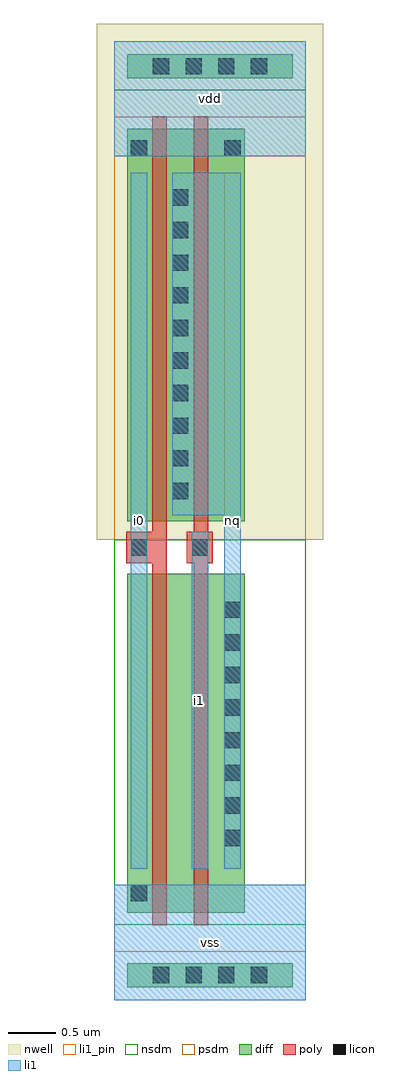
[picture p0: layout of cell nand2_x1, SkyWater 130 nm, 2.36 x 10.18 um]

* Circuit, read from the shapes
.subckt nand2_x1 i0 i1 nq vdd vss
XM1 n1 i0 vss VSUBS sky130_fd_pr__nfet_01v8 w=3.535 l=0.15
XM2 nq i1 n1 VSUBS sky130_fd_pr__nfet_01v8 w=3.535 l=0.15
XM3 nq i0 vdd n2 sky130_fd_pr__pfet_01v8 w=4.095 l=0.15
XM4 vdd i1 nq n2 sky130_fd_pr__pfet_01v8 w=4.095 l=0.15
.ends

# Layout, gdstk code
import gdstk
lib = gdstk.Library(unit=1e-6, precision=1e-09)
def R(c, l, rs):  # rectangles x0, y0, x1, y1
    for r in rs: c.add(gdstk.rectangle(r[:2], r[2:], *l))
def A(c, l, x, y, w, h, nx, ny, dx, dy):  # array of equal rectangles
    R(c, l, [(x+i*dx, y+j*dy, x+i*dx+w, y+j*dy+h) for i in range(nx) for j in range(ny)])
nwell = (64, 20)
diff = (65, 20)
poly = (66, 20)
licon = (66, 44)
li1_pin = (67, 16)
li1 = (67, 20)
nsdm = (93, 44)
psdm = (94, 20)

nand2_x1 = lib.new_cell('nand2_x1')
R(nand2_x1, nwell, [(-0.18,4.8,2.18,10.18), (-0.045,4.815,0.505,9.27), (-0.045,4.815,0.565,9.27), (-0.03,4.815,0.98,9.27), (0.385,4.815,0.995,9.27), (0.4,4.815,1.41,9.27), (0.445,4.815,0.935,9.27), (0.875,4.815,1.54,9.27), (0.93,4.815,1.54,9.27), (0.385,4.925,0.995,8.755), (-0.045,8.5,0.565,9.27), (0.93,8.5,1.54,9.27), (-0.045,9.435,2.045,10.045), (0.105,9.435,1.895,10.045)])
R(nand2_x1, diff, [(0.135,0.135,1.865,0.385), (0.285,0.135,1.715,0.385), (0.135,0.91,0.385,1.32), (0.135,0.91,0.385,4.445), (0.135,0.91,0.325,4.445), (0.15,0.91,0.8,4.445), (0.555,0.91,0.825,4.445), (0.58,0.91,1.23,4.445), (0.625,0.91,0.755,4.445), (1.055,0.91,1.36,4.445), (1.11,0.91,1.36,4.445), (1.11,1.485,1.36,4.275), (0.135,4.995,0.385,9.09), (0.135,4.995,0.325,9.09), (0.15,4.995,0.8,9.09), (0.565,4.995,0.815,9.09), (0.58,4.995,1.23,9.09), (0.625,4.995,0.755,9.09), (1.055,4.995,1.36,9.09), (1.11,4.995,1.36,9.09), (0.565,5.105,0.815,8.575), (0.135,8.68,0.385,9.09), (1.11,8.68,1.36,9.09), (0.135,9.615,1.865,9.865), (0.285,9.615,1.715,9.865)])
R(nand2_x1, poly, [(0.4,0.78,0.55,4.575), (0.4,0.78,0.55,4.865), (0.83,0.78,0.98,4.575), (0.83,0.78,0.98,4.865), (0.125,4.555,0.395,4.885), (0.26,4.555,0.475,4.885), (0.76,4.555,1.03,4.885), (0.895,4.555,0.905,4.885), (0.4,4.865,0.55,9.22), (0.83,4.865,0.98,9.22)])
A(nand2_x1, licon, 0.405, 0.175, 0.17, 0.17, 4, 2, 0.34, 9.48)
A(nand2_x1, licon, 1.15, 1.605, 0.17, 0.17, 1, 8, 0, 0.34)
A(nand2_x1, licon, 0.605, 5.225, 0.17, 0.17, 1, 10, 0, 0.34)
R(nand2_x1, licon, [(0.175,1.03,0.345,1.2), (0.175,4.635,0.345,4.805), (0.81,4.635,0.98,4.805), (0.175,8.8,0.345,8.97), (1.15,8.8,1.32,8.97)])
R(nand2_x1, li1_pin, [(0,0,2,1.2), (0.175,1.37,0.345,8.63), (0.81,1.37,0.98,4.885), (1.15,1.37,1.32,8.63), (0,8.8,2,10)])
R(nand2_x1, li1, [(0,0,2,1.2), (0.405,0.095,1.595,0.425), (0.095,1.03,0.425,1.2), (0.175,1.37,0.345,8.63), (0.81,1.37,0.98,4.885), (1.15,1.37,1.32,8.63), (1.15,1.37,1.32,4.385), (1.15,1.525,1.32,4.235), (0.175,4.555,0.345,4.885), (0.81,4.555,0.98,4.885), (0.605,5.055,0.775,8.63), (0.69,5.055,1.235,8.63), (1.15,5.055,1.32,5.385), (0.605,5.145,0.775,8.535), (0,8.8,2,10), (0.095,8.8,0.425,8.97), (1.07,8.8,1.4,8.97), (0.405,9.575,1.595,9.905)])
R(nand2_x1, nsdm, [(0,0.785,2,4.8), (0.01,0.785,0.51,1.445), (0.01,0.785,0.45,4.57), (0.01,0.785,0.51,4.57), (0.025,0.785,0.925,4.57), (0.43,0.785,0.95,4.57), (0.455,0.785,1.355,4.57), (0.5,0.785,0.88,4.57), (0.93,0.785,1.485,4.57), (0.985,0.785,1.485,4.57), (0.33,0.84,0.62,4.515), (0.76,0.84,1.05,4.515), (0.985,1.36,1.485,4.4), (0,9.49,2,10), (0,9.49,2,9.99), (0.15,9.49,1.85,9.99)])
R(nand2_x1, psdm, [(0,0,2,0.51), (0,0.01,2,0.51), (0.15,0.01,1.85,0.51), (0,4.8,2,9.215), (0.01,4.87,0.51,9.215), (0.01,4.87,0.45,9.215), (0.025,4.87,0.925,9.215), (0.44,4.87,0.94,9.215), (0.455,4.87,1.355,9.215), (0.5,4.87,0.88,9.215), (0.93,4.87,1.485,9.215), (0.985,4.87,1.485,9.215), (0.33,4.925,0.62,9.16), (0.76,4.925,1.05,9.16), (0.44,4.98,0.94,8.7), (0.01,8.555,0.51,9.215), (0.985,8.555,1.485,9.215)])
nand2_x1.add(gdstk.Label('vss', (1,0.6), layer=67, texttype=16))
nand2_x1.add(gdstk.Label('vdd', (1,9.4), layer=67, texttype=16))
nand2_x1.add(gdstk.Label('i0', (0.26,5), layer=67, texttype=16))
nand2_x1.add(gdstk.Label('nq', (1.235,5), layer=67, texttype=16))
nand2_x1.add(gdstk.Label('i1', (0.895,3.128), layer=67, texttype=16))

lib.write_gds('nand2_x1.gds')
